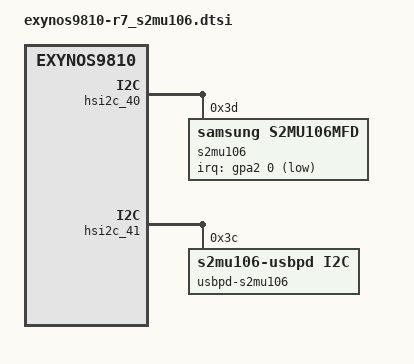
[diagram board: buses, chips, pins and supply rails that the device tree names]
/*
 * SAMSUNG EXYNOS9810 board device tree source
 *
 * Copyright (c) 2017 Samsung Electronics Co., Ltd.
 *		http://www.samsung.com
 *
 * This program is free software; you can redistribute it and/or modify
 * it under the terms of the GNU General Public License version 2 as
 * published by the Free Software Foundation.
*/

#include "battery-data-r7-s2mu106.dtsi"

&pinctrl_0 {
	if_pmic_irq: if-pmic-irq {
		samsung,pins = "gpa2-0";
		samsung,pin-function = <0xf>;
		samsung,pin-pud = <0>;
		samsung,pin-drv = <0>;
	};

	usbpd_irq: usbpd-irq {
		samsung,pins = "gpa1-6";
		samsung,pin-function = <0xf>;
		samsung,pin-pud = <3>;
		samsung,pin-drv = <3>;
	};
};

&hsi2c_40 {
	#address-cells = <1>;
	#size-cells = <0>;
	status = "okay";
	samsung,i2c-max-bus-freq = <400000>;
	s2mu106@3D {
		status = "okay";
		compatible = "samsung,s2mu106mfd";
		reg = <0x3D>;
		pinctrl-names = "default";
		pinctrl-0 = <&if_pmic_irq>;
		s2mu106,irq-gpio = <&gpa2 0 1>;
		s2mu106,wakeup;

		flash_led {
			torch-gpio = <&gpg2 4 0>;
			flash-gpio = <&gpg3 5 0>;
			flash_current = <1400>;
			torch_current = <125>;
			movie_current = <200>;
			factory_current = <350>;
			flashlight_current = <20 40 70 100 150>;
			status = "okay";
		};
	};
};

&hsi2c_41 {
	#address-cells = <1>;
	#size-cells = <0>;
	status = "okay";
	samsung,i2c-max-bus-freq = <400000>;
	usbpd-s2mu106@3C {
		status = "okay";
		compatible = "s2mu106-usbpd,i2c";
		reg = <0x3C>;
		pinctrl-names = "default";
		pinctrl-0 = <&usbpd_irq>;
		usbpd,usbpd_int = <&gpa1 6 0>;
		pdic-manager {
			/* sink */
			pdic,max_power = <5000>;
			pdic,op_power = <2500>;
			pdic,max_voltage = <6000>;
			pdic,max_current = <2000>;
			pdic,min_current = <500>;

			pdic,giveback = <0>;
			pdic,usb_com_capable = <1>;
			pdic,no_usb_suspend = <1>;

			/* source */
			source,max_voltage = <5000>;
			source,min_voltage = <4000>;
			source,max_power = <2500>;

			/* sink cap */
			sink,capable_max_voltage = <5000>;
		};
	};
};

